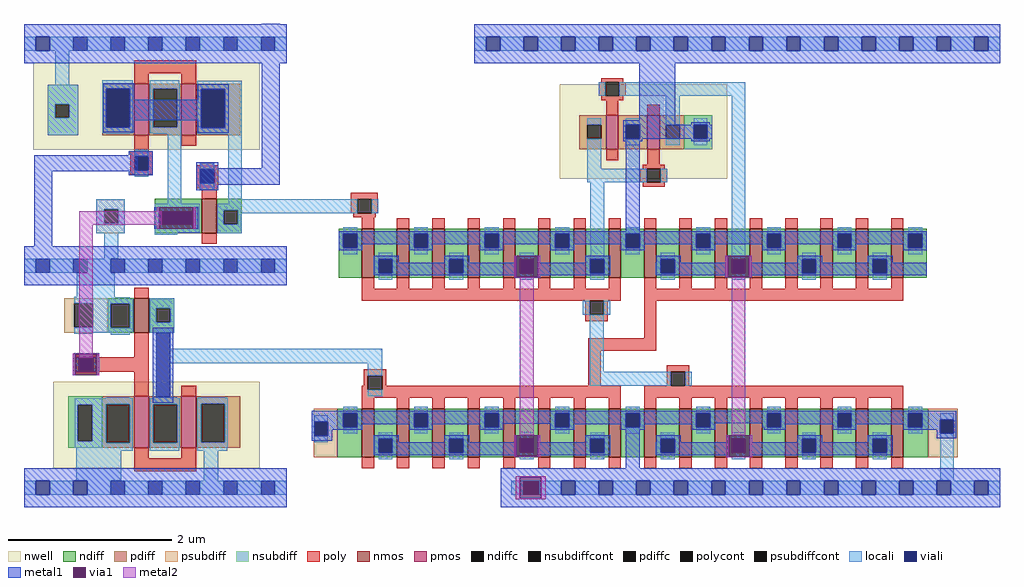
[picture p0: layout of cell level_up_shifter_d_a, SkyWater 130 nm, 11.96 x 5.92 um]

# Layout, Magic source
magic
tech sky130B
magscale 1 2
<< nwell >>
rect 1715 1303 2125 1535
<< nmos >>
rect 1230 1060 1260 1180
rect 1316 1060 1346 1180
rect 1403 1060 1433 1180
rect 1489 1060 1519 1180
rect 1576 1060 1606 1180
rect 1662 1060 1692 1180
rect 1749 1060 1779 1180
rect 1835 1060 1865 1180
rect 1922 1060 1952 1180
rect 2008 1060 2038 1180
rect 2095 1060 2125 1180
rect 2181 1060 2211 1180
rect 2268 1060 2298 1180
rect 2354 1060 2384 1180
rect 2441 1060 2471 1180
rect 2527 1060 2557 1180
rect 1230 620 1260 740
rect 1316 620 1346 740
rect 1403 620 1433 740
rect 1489 620 1519 740
rect 1576 620 1606 740
rect 1662 620 1692 740
rect 1749 620 1779 740
rect 1835 620 1865 740
rect 1922 620 1952 740
rect 2008 620 2038 740
rect 2095 620 2125 740
rect 2181 620 2211 740
rect 2268 620 2298 740
rect 2354 620 2384 740
rect 2441 620 2471 740
rect 2527 620 2557 740
<< pmos >>
rect 1829 1375 1859 1459
rect 1930 1375 1960 1459
<< ndiff >>
rect 1173 1168 1230 1180
rect 1173 1134 1185 1168
rect 1219 1134 1230 1168
rect 1173 1060 1230 1134
rect 1260 1106 1316 1180
rect 1260 1072 1271 1106
rect 1305 1072 1316 1106
rect 1260 1060 1316 1072
rect 1346 1168 1403 1180
rect 1346 1134 1358 1168
rect 1392 1134 1403 1168
rect 1346 1060 1403 1134
rect 1433 1106 1489 1180
rect 1433 1072 1444 1106
rect 1478 1072 1489 1106
rect 1433 1060 1489 1072
rect 1519 1168 1576 1180
rect 1519 1134 1531 1168
rect 1565 1134 1576 1168
rect 1519 1060 1576 1134
rect 1606 1106 1662 1180
rect 1606 1072 1617 1106
rect 1651 1072 1662 1106
rect 1606 1060 1662 1072
rect 1692 1168 1749 1180
rect 1692 1134 1704 1168
rect 1738 1134 1749 1168
rect 1692 1060 1749 1134
rect 1779 1106 1835 1180
rect 1779 1072 1790 1106
rect 1824 1072 1835 1106
rect 1779 1060 1835 1072
rect 1865 1168 1922 1180
rect 1865 1134 1877 1168
rect 1911 1134 1922 1168
rect 1865 1060 1922 1134
rect 1952 1106 2008 1180
rect 1952 1072 1963 1106
rect 1997 1072 2008 1106
rect 1952 1060 2008 1072
rect 2038 1168 2095 1180
rect 2038 1134 2050 1168
rect 2084 1134 2095 1168
rect 2038 1060 2095 1134
rect 2125 1106 2181 1180
rect 2125 1072 2136 1106
rect 2170 1072 2181 1106
rect 2125 1060 2181 1072
rect 2211 1168 2268 1180
rect 2211 1134 2223 1168
rect 2257 1134 2268 1168
rect 2211 1060 2268 1134
rect 2298 1106 2354 1180
rect 2298 1072 2309 1106
rect 2343 1072 2354 1106
rect 2298 1060 2354 1072
rect 2384 1168 2441 1180
rect 2384 1134 2396 1168
rect 2430 1134 2441 1168
rect 2384 1060 2441 1134
rect 2471 1106 2527 1180
rect 2471 1072 2482 1106
rect 2516 1072 2527 1106
rect 2471 1060 2527 1072
rect 2557 1168 2614 1180
rect 2557 1134 2569 1168
rect 2603 1134 2614 1168
rect 2557 1060 2614 1134
rect 1170 728 1230 740
rect 1170 694 1185 728
rect 1219 694 1230 728
rect 1170 620 1230 694
rect 1260 666 1316 740
rect 1260 632 1271 666
rect 1305 632 1316 666
rect 1260 620 1316 632
rect 1346 728 1403 740
rect 1346 694 1358 728
rect 1392 694 1403 728
rect 1346 620 1403 694
rect 1433 666 1489 740
rect 1433 632 1444 666
rect 1478 632 1489 666
rect 1433 620 1489 632
rect 1519 728 1576 740
rect 1519 694 1531 728
rect 1565 694 1576 728
rect 1519 620 1576 694
rect 1606 667 1662 740
rect 1606 633 1617 667
rect 1651 633 1662 667
rect 1606 620 1662 633
rect 1692 728 1749 740
rect 1692 694 1704 728
rect 1738 694 1749 728
rect 1692 620 1749 694
rect 1779 666 1835 740
rect 1779 632 1790 666
rect 1824 632 1835 666
rect 1779 620 1835 632
rect 1865 728 1922 740
rect 1865 694 1877 728
rect 1911 694 1922 728
rect 1865 620 1922 694
rect 1952 666 2008 740
rect 1952 632 1963 666
rect 1997 632 2008 666
rect 1952 620 2008 632
rect 2038 728 2095 740
rect 2038 694 2050 728
rect 2084 694 2095 728
rect 2038 620 2095 694
rect 2125 666 2181 740
rect 2125 632 2136 666
rect 2170 632 2181 666
rect 2125 620 2181 632
rect 2211 728 2268 740
rect 2211 694 2223 728
rect 2257 694 2268 728
rect 2211 620 2268 694
rect 2298 666 2354 740
rect 2298 632 2309 666
rect 2343 632 2354 666
rect 2298 620 2354 632
rect 2384 728 2441 740
rect 2384 694 2396 728
rect 2430 694 2441 728
rect 2384 620 2441 694
rect 2471 666 2527 740
rect 2471 632 2482 666
rect 2516 632 2527 666
rect 2471 620 2527 632
rect 2557 728 2618 740
rect 2557 694 2569 728
rect 2603 694 2618 728
rect 2557 620 2618 694
<< pdiff >>
rect 1763 1435 1829 1459
rect 1763 1401 1783 1435
rect 1817 1401 1829 1435
rect 1763 1375 1829 1401
rect 1859 1435 1930 1459
rect 1859 1401 1877 1435
rect 1911 1401 1930 1435
rect 1859 1375 1930 1401
rect 1960 1435 2020 1459
rect 1960 1401 1975 1435
rect 2009 1401 2020 1435
rect 1960 1375 2020 1401
<< ndiffc >>
rect 1185 1134 1219 1168
rect 1271 1072 1305 1106
rect 1358 1134 1392 1168
rect 1444 1072 1478 1106
rect 1531 1134 1565 1168
rect 1617 1072 1651 1106
rect 1704 1134 1738 1168
rect 1790 1072 1824 1106
rect 1877 1134 1911 1168
rect 1963 1072 1997 1106
rect 2050 1134 2084 1168
rect 2136 1072 2170 1106
rect 2223 1134 2257 1168
rect 2309 1072 2343 1106
rect 2396 1134 2430 1168
rect 2482 1072 2516 1106
rect 2569 1134 2603 1168
rect 1185 694 1219 728
rect 1271 632 1305 666
rect 1358 694 1392 728
rect 1444 632 1478 666
rect 1531 694 1565 728
rect 1617 633 1651 667
rect 1704 694 1738 728
rect 1790 632 1824 666
rect 1877 694 1911 728
rect 1963 632 1997 666
rect 2050 694 2084 728
rect 2136 632 2170 666
rect 2223 694 2257 728
rect 2309 632 2343 666
rect 2396 694 2430 728
rect 2482 632 2516 666
rect 2569 694 2603 728
<< pdiffc >>
rect 1783 1401 1817 1435
rect 1877 1401 1911 1435
rect 1975 1401 2009 1435
<< psubdiff >>
rect 1112 707 1170 740
rect 1112 673 1113 707
rect 1147 673 1170 707
rect 1112 620 1170 673
rect 2618 713 2691 740
rect 2618 679 2647 713
rect 2681 679 2691 713
rect 2618 620 2691 679
<< nsubdiff >>
rect 2020 1435 2089 1459
rect 2020 1401 2043 1435
rect 2077 1401 2089 1435
rect 2020 1375 2089 1401
<< psubdiffcont >>
rect 1113 673 1147 707
rect 2647 679 2681 713
<< nsubdiffcont >>
rect 2043 1401 2077 1435
<< poly >>
rect 1817 1540 1871 1550
rect 1811 1506 1827 1540
rect 1861 1506 1877 1540
rect 1817 1496 1871 1506
rect 1829 1459 1859 1496
rect 1930 1459 1960 1485
rect 1829 1349 1859 1375
rect 1930 1338 1960 1375
rect 1918 1328 1972 1338
rect 1912 1294 1928 1328
rect 1962 1294 1978 1328
rect 1918 1284 1972 1294
rect 1203 1253 1269 1269
rect 1203 1219 1219 1253
rect 1254 1219 1269 1253
rect 1209 1209 1264 1219
rect 1230 1180 1260 1209
rect 1316 1180 1346 1206
rect 1403 1180 1433 1206
rect 1489 1180 1519 1206
rect 1576 1180 1606 1206
rect 1662 1180 1692 1206
rect 1749 1180 1779 1206
rect 1835 1180 1865 1206
rect 1922 1180 1952 1206
rect 2008 1180 2038 1206
rect 2095 1180 2125 1206
rect 2181 1180 2211 1206
rect 2268 1180 2298 1206
rect 2354 1180 2384 1206
rect 2441 1180 2471 1206
rect 2527 1180 2557 1206
rect 1230 1034 1260 1060
rect 1316 1034 1346 1060
rect 1403 1034 1433 1060
rect 1489 1034 1519 1060
rect 1576 1034 1606 1060
rect 1662 1034 1692 1060
rect 1749 1034 1779 1060
rect 1835 1034 1865 1060
rect 1230 1004 1865 1034
rect 1922 1034 1952 1060
rect 2008 1034 2038 1060
rect 2095 1034 2125 1060
rect 2181 1034 2211 1060
rect 2268 1034 2298 1060
rect 2354 1034 2384 1060
rect 2441 1034 2471 1060
rect 2527 1034 2557 1060
rect 1922 1004 2557 1034
rect 1778 970 1788 1004
rect 1823 970 1833 1004
rect 1778 954 1833 970
rect 1922 912 1952 1004
rect 1785 882 1952 912
rect 1235 820 1290 836
rect 1235 796 1245 820
rect 1230 786 1245 796
rect 1280 796 1290 820
rect 1785 796 1815 882
rect 1977 830 2032 846
rect 1977 796 1987 830
rect 2022 796 2032 830
rect 1280 786 1865 796
rect 1230 766 1865 786
rect 1230 740 1260 766
rect 1316 740 1346 766
rect 1403 740 1433 766
rect 1489 740 1519 766
rect 1576 740 1606 766
rect 1662 740 1692 766
rect 1749 740 1779 766
rect 1835 740 1865 766
rect 1922 766 2557 796
rect 1922 740 1952 766
rect 2008 740 2038 766
rect 2095 740 2125 766
rect 2181 740 2211 766
rect 2268 740 2298 766
rect 2354 740 2384 766
rect 2441 740 2471 766
rect 2527 740 2557 766
rect 1230 594 1260 620
rect 1316 594 1346 620
rect 1403 594 1433 620
rect 1489 594 1519 620
rect 1576 594 1606 620
rect 1662 594 1692 620
rect 1749 594 1779 620
rect 1835 594 1865 620
rect 1922 594 1952 620
rect 2008 594 2038 620
rect 2095 594 2125 620
rect 2181 594 2211 620
rect 2268 594 2298 620
rect 2354 594 2384 620
rect 2441 594 2471 620
rect 2527 594 2557 620
<< polycont >>
rect 1827 1506 1861 1540
rect 1928 1294 1962 1328
rect 1219 1219 1254 1253
rect 1788 970 1823 1004
rect 1245 786 1280 820
rect 1987 796 2022 830
<< locali >>
rect 1506 1617 1535 1651
rect 1569 1617 1627 1651
rect 1661 1617 1719 1651
rect 1753 1617 1811 1651
rect 1845 1617 1903 1651
rect 1937 1617 1995 1651
rect 2029 1617 2087 1651
rect 2121 1617 2179 1651
rect 2213 1617 2271 1651
rect 2305 1617 2363 1651
rect 2397 1617 2455 1651
rect 2489 1617 2547 1651
rect 2581 1617 2639 1651
rect 2673 1617 2731 1651
rect 2765 1617 2794 1651
rect 1811 1506 1827 1540
rect 1861 1506 2170 1540
rect 1783 1435 1817 1451
rect 1783 1328 1817 1401
rect 1877 1435 1911 1451
rect 1877 1385 1911 1401
rect 1975 1435 2009 1506
rect 1975 1385 2009 1401
rect 2043 1435 2077 1451
rect 2043 1385 2077 1401
rect 1783 1294 1928 1328
rect 1962 1294 1978 1328
rect 934 1219 1219 1253
rect 1254 1219 1270 1253
rect 1185 1168 1219 1184
rect 1185 1118 1219 1134
rect 1358 1168 1392 1184
rect 1271 1106 1305 1122
rect 1358 1118 1392 1134
rect 1531 1168 1565 1184
rect 1271 1056 1305 1072
rect 1444 1106 1478 1122
rect 1531 1118 1565 1134
rect 1704 1168 1738 1184
rect 1444 1056 1478 1072
rect 1617 1106 1651 1122
rect 1704 1118 1738 1134
rect 1617 1056 1651 1072
rect 1790 1106 1824 1294
rect 1877 1168 1911 1184
rect 1877 1118 1911 1134
rect 2050 1168 2084 1184
rect 1790 1056 1824 1072
rect 1963 1106 1997 1122
rect 2050 1118 2084 1134
rect 1963 1056 1997 1072
rect 2136 1106 2170 1506
rect 2223 1168 2257 1184
rect 2223 1118 2257 1134
rect 2396 1168 2430 1184
rect 2136 1056 2170 1072
rect 2309 1106 2343 1122
rect 2396 1118 2430 1134
rect 2569 1168 2603 1184
rect 2309 1056 2343 1072
rect 2482 1106 2516 1122
rect 2569 1118 2603 1134
rect 2482 1056 2516 1072
rect 1772 970 1788 1004
rect 1823 970 1839 1004
rect 759 851 1280 886
rect 1245 820 1280 851
rect 1788 830 1823 970
rect 1788 796 1987 830
rect 2022 796 2038 830
rect 1245 770 1280 786
rect 1185 728 1219 744
rect 1113 707 1147 723
rect 1185 678 1219 694
rect 1358 728 1392 744
rect 1113 657 1147 673
rect 1271 666 1305 682
rect 1358 678 1392 694
rect 1531 728 1565 744
rect 1271 616 1305 632
rect 1444 666 1478 682
rect 1531 678 1565 694
rect 1704 728 1738 744
rect 1444 616 1478 632
rect 1617 667 1651 683
rect 1704 678 1738 694
rect 1877 728 1911 744
rect 1617 616 1651 633
rect 1790 666 1824 682
rect 1877 678 1911 694
rect 2050 728 2084 744
rect 1790 616 1824 632
rect 1963 666 1997 682
rect 2050 678 2084 694
rect 2223 728 2257 744
rect 1963 616 1997 632
rect 2136 666 2170 682
rect 2223 678 2257 694
rect 2396 728 2430 744
rect 2136 616 2170 632
rect 2309 666 2343 682
rect 2396 678 2430 694
rect 2569 728 2603 744
rect 2309 616 2343 632
rect 2482 666 2516 682
rect 2569 678 2603 694
rect 2647 713 2681 729
rect 2482 616 2516 632
rect 2647 563 2681 679
rect 1596 529 1627 563
rect 1663 529 1719 563
rect 1753 529 1811 563
rect 1845 529 1903 563
rect 1937 529 1995 563
rect 2029 529 2087 563
rect 2121 529 2179 563
rect 2213 529 2271 563
rect 2305 529 2363 563
rect 2397 529 2455 563
rect 2489 529 2547 563
rect 2581 529 2639 563
rect 2673 529 2731 563
rect 2765 529 2794 563
<< viali >>
rect 1535 1617 1569 1651
rect 1627 1617 1661 1651
rect 1719 1617 1753 1651
rect 1811 1617 1845 1651
rect 1903 1617 1937 1651
rect 1995 1617 2029 1651
rect 2087 1617 2121 1651
rect 2179 1617 2213 1651
rect 2271 1617 2305 1651
rect 2363 1617 2397 1651
rect 2455 1617 2489 1651
rect 2547 1617 2581 1651
rect 2639 1617 2673 1651
rect 2731 1617 2765 1651
rect 1877 1401 1911 1435
rect 2043 1401 2077 1435
rect 1185 1134 1219 1168
rect 1358 1134 1392 1168
rect 1531 1134 1565 1168
rect 1271 1072 1305 1106
rect 1704 1134 1738 1168
rect 1444 1072 1478 1106
rect 1617 1072 1651 1106
rect 1877 1134 1911 1168
rect 2050 1134 2084 1168
rect 1790 1072 1824 1106
rect 1963 1072 1997 1106
rect 2223 1134 2257 1168
rect 2396 1134 2430 1168
rect 2136 1072 2170 1106
rect 2569 1134 2603 1168
rect 2309 1072 2343 1106
rect 2482 1072 2516 1106
rect 1113 673 1147 707
rect 1185 694 1219 728
rect 1358 694 1392 728
rect 1531 694 1565 728
rect 1271 632 1305 666
rect 1704 694 1738 728
rect 1444 632 1478 666
rect 1877 694 1911 728
rect 1617 633 1651 667
rect 2050 694 2084 728
rect 1790 632 1824 666
rect 2223 694 2257 728
rect 1963 632 1997 666
rect 2396 694 2430 728
rect 2136 632 2170 666
rect 2569 694 2603 728
rect 2309 632 2343 666
rect 2647 679 2681 713
rect 2482 632 2516 666
rect 1627 529 1663 563
rect 1719 529 1753 563
rect 1811 529 1845 563
rect 1903 529 1937 563
rect 1995 529 2029 563
rect 2087 529 2121 563
rect 2179 529 2213 563
rect 2271 529 2305 563
rect 2363 529 2397 563
rect 2455 529 2489 563
rect 2547 529 2581 563
rect 2639 529 2673 563
rect 2731 529 2765 563
<< metal1 >>
rect 427 1321 681 1361
rect 985 1329 1029 1683
rect 1506 1651 2794 1682
rect 1506 1617 1535 1651
rect 1569 1617 1627 1651
rect 1661 1617 1719 1651
rect 1753 1617 1811 1651
rect 1845 1617 1903 1651
rect 1937 1617 1995 1651
rect 2029 1617 2087 1651
rect 2121 1617 2179 1651
rect 2213 1617 2271 1651
rect 2305 1617 2363 1651
rect 2397 1617 2455 1651
rect 2489 1617 2547 1651
rect 2581 1617 2639 1651
rect 2673 1617 2731 1651
rect 2765 1617 2794 1651
rect 1506 1586 2794 1617
rect 1910 1447 1998 1586
rect 1871 1435 1998 1447
rect 2037 1435 2083 1441
rect 1871 1401 1877 1435
rect 1911 1401 2043 1435
rect 2077 1401 2089 1435
rect 1871 1395 1917 1401
rect 2037 1395 2083 1401
rect 427 1042 471 1321
rect 837 1289 1029 1329
rect 1877 1174 1911 1395
rect 1173 1168 2615 1174
rect 1173 1134 1185 1168
rect 1219 1142 1358 1168
rect 1219 1134 1231 1142
rect 1173 1128 1231 1134
rect 1346 1134 1358 1142
rect 1392 1142 1531 1168
rect 1392 1134 1404 1142
rect 1346 1128 1404 1134
rect 1519 1134 1531 1142
rect 1565 1142 1704 1168
rect 1565 1134 1577 1142
rect 1519 1128 1577 1134
rect 1692 1134 1704 1142
rect 1738 1142 1877 1168
rect 1738 1134 1750 1142
rect 1692 1128 1750 1134
rect 1865 1134 1877 1142
rect 1911 1142 2050 1168
rect 1911 1134 1923 1142
rect 1865 1128 1923 1134
rect 2038 1134 2050 1142
rect 2084 1142 2223 1168
rect 2084 1134 2096 1142
rect 2038 1128 2096 1134
rect 2211 1134 2223 1142
rect 2257 1142 2396 1168
rect 2257 1134 2269 1142
rect 2211 1128 2269 1134
rect 2384 1134 2396 1142
rect 2430 1142 2569 1168
rect 2430 1134 2442 1142
rect 2384 1128 2442 1134
rect 2557 1134 2569 1142
rect 2603 1134 2615 1168
rect 2557 1128 2615 1134
rect 1259 1106 1320 1114
rect 1259 1072 1271 1106
rect 1305 1097 1320 1106
rect 1432 1106 1493 1114
rect 1432 1097 1444 1106
rect 1305 1072 1444 1097
rect 1478 1097 1493 1106
rect 1603 1097 1609 1114
rect 1478 1072 1609 1097
rect 1661 1097 1667 1114
rect 1778 1106 1839 1114
rect 1778 1097 1790 1106
rect 1661 1072 1790 1097
rect 1824 1072 1839 1106
rect 1951 1106 2012 1114
rect 1951 1097 1963 1106
rect 1259 1066 1609 1072
rect 1603 1062 1609 1066
rect 1661 1066 1839 1072
rect 1950 1072 1963 1097
rect 1997 1097 2012 1106
rect 2121 1097 2127 1114
rect 1997 1072 2127 1097
rect 2179 1097 2185 1114
rect 2297 1106 2358 1114
rect 2297 1097 2309 1106
rect 2179 1072 2309 1097
rect 2343 1097 2358 1106
rect 2470 1106 2531 1114
rect 2470 1097 2482 1106
rect 2343 1072 2482 1097
rect 2516 1097 2531 1106
rect 2516 1072 2614 1097
rect 1950 1066 2127 1072
rect 1661 1062 1667 1066
rect 2121 1062 2127 1066
rect 2179 1066 2614 1072
rect 2179 1062 2185 1066
rect 1603 1061 1667 1062
rect 1107 728 2687 734
rect 1107 707 1185 728
rect 1107 673 1113 707
rect 1147 694 1185 707
rect 1219 702 1358 728
rect 1219 694 1231 702
rect 1147 688 1231 694
rect 1346 694 1358 702
rect 1392 702 1531 728
rect 1392 694 1404 702
rect 1346 688 1404 694
rect 1519 694 1531 702
rect 1565 703 1704 728
rect 1565 694 1577 703
rect 1519 688 1577 694
rect 1692 694 1704 703
rect 1738 702 1877 728
rect 1738 694 1750 702
rect 1692 688 1750 694
rect 1865 694 1877 702
rect 1911 702 2050 728
rect 1911 694 1923 702
rect 1865 688 1923 694
rect 2038 694 2050 702
rect 2084 704 2223 728
rect 2084 694 2096 704
rect 2211 694 2223 704
rect 2257 702 2396 728
rect 2257 694 2269 702
rect 2038 688 2096 694
rect 2215 688 2269 694
rect 2384 694 2396 702
rect 2430 702 2569 728
rect 2430 694 2442 702
rect 2384 688 2442 694
rect 2557 694 2569 702
rect 2603 713 2687 728
rect 2603 694 2647 713
rect 2557 688 2647 694
rect 1147 673 1157 688
rect 1107 661 1157 673
rect 1259 666 1320 674
rect 1259 632 1271 666
rect 1305 657 1320 666
rect 1432 666 1493 674
rect 1432 657 1444 666
rect 1305 632 1444 657
rect 1478 657 1493 666
rect 1603 657 1609 675
rect 1478 632 1609 657
rect 1661 657 1667 675
rect 1778 666 1839 674
rect 1778 657 1790 666
rect 1259 626 1609 632
rect 1603 623 1609 626
rect 1661 632 1790 657
rect 1824 632 1839 666
rect 1661 626 1839 632
rect 1661 623 1667 626
rect 1603 622 1667 623
rect 1877 594 1911 688
rect 2639 679 2647 688
rect 2681 679 2687 713
rect 1951 666 2012 674
rect 1951 657 1963 666
rect 1950 632 1963 657
rect 1997 657 2012 666
rect 2123 657 2129 674
rect 1997 632 2129 657
rect 2181 657 2187 674
rect 2297 666 2358 674
rect 2297 657 2309 666
rect 2181 632 2309 657
rect 2343 657 2358 666
rect 2470 666 2531 674
rect 2639 667 2687 679
rect 2470 657 2482 666
rect 2343 632 2482 657
rect 2516 632 2531 666
rect 1950 626 2129 632
rect 2123 622 2129 626
rect 2181 626 2531 632
rect 2181 622 2187 626
rect 1571 572 2794 594
rect 1571 520 1617 572
rect 1670 563 2794 572
rect 1670 529 1719 563
rect 1753 529 1811 563
rect 1845 529 1903 563
rect 1937 529 1995 563
rect 2029 529 2087 563
rect 2121 529 2179 563
rect 2213 529 2271 563
rect 2305 529 2363 563
rect 2397 529 2455 563
rect 2489 529 2547 563
rect 2581 529 2639 563
rect 2673 529 2731 563
rect 2765 529 2794 563
rect 1670 520 2794 529
rect 1571 498 2794 520
<< via1 >>
rect 1609 1106 1661 1114
rect 1609 1072 1617 1106
rect 1617 1072 1651 1106
rect 1651 1072 1661 1106
rect 1609 1062 1661 1072
rect 2127 1106 2179 1114
rect 2127 1072 2136 1106
rect 2136 1072 2170 1106
rect 2170 1072 2179 1106
rect 2127 1062 2179 1072
rect 1609 667 1661 675
rect 1609 633 1617 667
rect 1617 633 1651 667
rect 1651 633 1661 667
rect 1609 623 1661 633
rect 2129 666 2181 674
rect 2129 632 2136 666
rect 2136 632 2170 666
rect 2170 632 2181 666
rect 2129 622 2181 632
rect 1617 563 1670 572
rect 1617 529 1627 563
rect 1627 529 1663 563
rect 1663 529 1670 563
rect 1617 520 1670 529
<< metal2 >>
rect 1603 1062 1609 1114
rect 1661 1062 1667 1114
rect 2121 1062 2127 1114
rect 2179 1062 2185 1114
rect 1617 675 1651 1062
rect 1603 623 1609 675
rect 1661 623 1667 675
rect 2136 674 2170 1062
rect 1603 622 1667 623
rect 2123 622 2129 674
rect 2181 622 2187 674
rect 2123 620 2187 622
rect 1607 572 1681 574
rect 1607 520 1617 572
rect 1670 520 1681 572
rect 1607 518 1681 520
use comp_clks_stg1  comp_clks_stg1_0 clkgen
transform 1 0 402 0 -1 1138
box 0 -547 644 640
<< end >>

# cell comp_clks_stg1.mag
magic
tech sky130B
magscale 1 2
<< locali >>
rect 500 -405 534 -88
<< metal1 >>
rect 155 544 644 640
rect 315 200 366 384
rect 0 0 644 96
rect 25 -183 69 0
rect 25 -223 279 -183
rect 435 -191 627 -151
rect 583 -448 627 -191
rect 63 -544 644 -448
rect 583 -545 627 -544
<< metal2 >>
rect 135 -52 169 274
rect 135 -86 337 -52
use inverter  inverter_0
transform 1 0 276 0 1 128
box -276 -128 368 512
use tg  tg_0
transform 1 0 276 0 -1 -32
box -276 -128 368 512
<< labels >>
flabel metal1 63 -544 644 -448 1 FreeSans 320 0 0 0 vdd
port 1 n default bidirectional
flabel metal1 155 544 644 640 1 FreeSans 320 0 0 0 vdd
flabel metal1 0 0 644 96 1 FreeSans 320 0 0 0 vss
port 2 n default bidirectional
flabel metal2 135 -86 169 274 1 FreeSans 320 0 0 0 clk
port 3 n default input
flabel metal1 315 200 366 384 1 FreeSans 320 0 0 0 clka
port 4 n default output
flabel locali 500 -405 534 -88 1 FreeSans 320 0 0 0 clkb
port 5 n default output
<< end >>

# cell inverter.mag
magic
tech sky130B
magscale 1 2
<< nwell >>
rect -204 204 302 417
<< nmos >>
rect -6 0 30 84
<< pmos >>
rect -6 240 30 366
rect 110 240 146 366
<< ndiff >>
rect -71 72 -6 84
rect -71 13 -63 72
rect -17 13 -6 72
rect -71 0 -6 13
rect 30 58 92 84
rect 30 24 48 58
rect 82 24 92 58
rect 30 0 92 24
<< pdiff >>
rect -84 354 -6 366
rect -84 259 -75 354
rect -17 259 -6 354
rect -84 240 -6 259
rect 30 354 110 366
rect 30 259 41 354
rect 99 259 110 354
rect 30 240 110 259
rect 146 353 254 366
rect 146 258 158 353
rect 216 258 254 353
rect 146 240 254 258
<< ndiffc >>
rect -63 13 -17 72
rect 48 24 82 58
<< pdiffc >>
rect -75 259 -17 354
rect 41 259 99 354
rect 158 258 216 353
<< psubdiff >>
rect -177 71 -71 84
rect -177 12 -153 71
rect -107 12 -71 71
rect -177 0 -71 12
<< nsubdiff >>
rect -168 350 -84 366
rect -168 261 -144 350
rect -109 261 -84 350
rect -168 240 -84 261
<< psubdiffcont >>
rect -153 12 -107 71
<< nsubdiffcont >>
rect -144 261 -109 350
<< poly >>
rect -6 392 146 424
rect -6 366 30 392
rect 110 366 146 392
rect -151 180 -95 189
rect -6 180 30 240
rect 110 214 146 240
rect -151 179 30 180
rect -157 145 -141 179
rect -107 145 30 179
rect -151 144 30 145
rect -151 135 -95 144
rect -6 84 30 144
rect -6 -26 30 0
<< polycont >>
rect -141 145 -107 179
<< locali >>
rect -276 447 -247 481
rect -213 447 -155 481
rect -121 447 -63 481
rect -29 447 29 481
rect 63 447 121 481
rect 155 447 213 481
rect 247 447 305 481
rect 339 447 368 481
rect -148 374 -38 447
rect -148 366 -10 374
rect -152 354 -10 366
rect -152 350 -75 354
rect -152 261 -144 350
rect -109 261 -75 350
rect -152 259 -75 261
rect -17 259 -10 354
rect -152 245 -10 259
rect 32 366 105 374
rect 164 373 200 447
rect 32 354 106 366
rect 32 259 41 354
rect 99 259 106 354
rect 32 245 106 259
rect 149 365 222 373
rect 149 353 223 365
rect 149 258 158 353
rect 216 258 223 353
rect -75 243 -17 245
rect 41 243 99 245
rect 149 244 223 258
rect -157 145 -141 179
rect -107 145 -91 179
rect -153 84 -107 87
rect -63 84 -17 89
rect 158 242 216 244
rect -153 83 -17 84
rect -153 72 -8 83
rect -153 71 -63 72
rect -107 13 -63 71
rect -17 13 -8 72
rect -107 12 -8 13
rect -153 1 -8 12
rect 32 58 92 84
rect 32 24 48 58
rect 82 24 92 58
rect -153 -3 -17 1
rect 32 0 92 24
rect -153 -4 -53 -3
rect -147 -63 -53 -4
rect -276 -97 -247 -63
rect -213 -97 -155 -63
rect -121 -97 -63 -63
rect -29 -97 29 -63
rect 63 -97 121 -63
rect 155 -97 213 -63
rect 247 -97 305 -63
rect 339 -97 368 -63
<< viali >>
rect -247 447 -213 481
rect -155 447 -121 481
rect -63 447 -29 481
rect 29 447 63 481
rect 121 447 155 481
rect 213 447 247 481
rect 305 447 339 481
rect -141 145 -107 179
rect 48 84 82 243
rect -247 -97 -213 -63
rect -155 -97 -121 -63
rect -63 -97 -29 -63
rect 29 -97 63 -63
rect 121 -97 155 -63
rect 213 -97 247 -63
rect 305 -97 339 -63
<< metal1 >>
rect -276 481 368 512
rect -276 447 -247 481
rect -213 447 -155 481
rect -121 447 -63 481
rect -29 447 29 481
rect 63 447 121 481
rect 155 447 213 481
rect 247 447 305 481
rect 339 447 368 481
rect -276 416 368 447
rect 39 243 90 256
rect -154 188 -91 189
rect -156 136 -150 188
rect -98 136 -91 188
rect -154 135 -91 136
rect 39 84 48 243
rect 82 84 90 243
rect 39 72 90 84
rect -276 -63 368 -32
rect -276 -97 -247 -63
rect -213 -97 -155 -63
rect -121 -97 -63 -63
rect -29 -97 29 -63
rect 63 -97 121 -63
rect 155 -97 213 -63
rect 247 -97 305 -63
rect 339 -97 368 -63
rect -276 -128 368 -97
<< via1 >>
rect -150 179 -98 188
rect -150 145 -141 179
rect -141 145 -107 179
rect -107 145 -98 179
rect -150 136 -98 145
<< metal2 >>
rect -156 136 -150 188
rect -98 136 -92 188
<< labels >>
flabel metal2 -141 145 -107 179 0 FreeSans 160 0 0 0 in
port 2 nsew default input
flabel viali 48 84 82 243 0 FreeSans 160 0 0 0 out
port 3 nsew default output
flabel metal1 -29 -128 29 -32 1 FreeSans 320 0 0 0 vss
port 4 n default bidirectional
flabel metal1 -10 416 84 512 1 FreeSans 320 0 0 0 vdd
port 5 n default bidirectional
<< end >>

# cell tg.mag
magic
tech sky130B
magscale 1 2
<< nwell >>
rect -253 204 302 417
<< nmos >>
rect 160 0 196 84
<< pmos >>
rect -6 240 30 366
rect 110 240 146 366
<< ndiff >>
rect 45 54 160 84
rect 45 20 55 54
rect 139 20 160 54
rect 45 0 160 20
rect 196 56 258 84
rect 196 22 214 56
rect 248 22 258 56
rect 196 0 258 22
<< pdiff >>
rect -84 354 -6 366
rect -84 259 -75 354
rect -17 259 -6 354
rect -84 240 -6 259
rect 30 354 110 366
rect 30 259 41 354
rect 99 259 110 354
rect 30 240 110 259
rect 146 353 254 366
rect 146 258 158 353
rect 216 258 254 353
rect 146 240 254 258
<< ndiffc >>
rect 55 20 139 54
rect 214 22 248 56
<< pdiffc >>
rect -75 259 -17 354
rect 41 259 99 354
rect 158 258 216 353
<< psubdiff >>
rect -99 58 -29 83
rect -99 24 -79 58
rect -45 24 -29 58
rect -99 0 -29 24
<< nsubdiff >>
rect -217 316 -143 364
rect -217 282 -199 316
rect -165 282 -143 316
rect -217 240 -143 282
<< psubdiffcont >>
rect -79 24 -45 58
<< nsubdiffcont >>
rect -199 282 -165 316
<< poly >>
rect -6 392 146 424
rect -6 366 30 392
rect 110 366 146 392
rect -6 200 30 240
rect 110 214 146 240
rect -15 188 39 200
rect -15 154 -5 188
rect 29 154 39 188
rect 156 166 190 172
rect -15 144 39 154
rect 146 156 200 166
rect -5 138 29 144
rect 146 122 156 156
rect 190 122 200 156
rect 146 110 200 122
rect 155 106 196 110
rect 160 84 196 106
rect 160 -26 196 0
<< polycont >>
rect -5 154 29 188
rect 156 122 190 156
<< locali >>
rect -276 447 -247 481
rect -213 447 -155 481
rect -121 447 -63 481
rect -29 447 29 481
rect 63 447 121 481
rect 155 447 213 481
rect 247 447 305 481
rect 339 447 368 481
rect -199 364 -165 447
rect -218 316 -143 364
rect -218 282 -199 316
rect -165 282 -143 316
rect -218 240 -143 282
rect -84 354 -10 374
rect -84 259 -75 354
rect -17 259 -10 354
rect -84 245 -10 259
rect 32 366 105 374
rect 32 354 106 366
rect 32 259 41 354
rect 99 277 106 354
rect 149 353 258 373
rect 99 259 110 277
rect 32 245 110 259
rect -75 243 -17 245
rect 41 243 110 245
rect 149 258 158 353
rect 216 258 258 353
rect 149 244 258 258
rect -5 188 29 204
rect -5 138 29 154
rect -99 58 -29 83
rect 76 72 110 243
rect 158 242 258 244
rect 156 156 190 172
rect 156 106 190 122
rect 224 72 258 242
rect -99 24 -79 58
rect -45 24 -29 58
rect -99 0 -29 24
rect 45 54 155 72
rect 45 20 55 54
rect 139 20 155 54
rect 45 1 155 20
rect 198 56 258 72
rect 198 22 214 56
rect 248 22 258 56
rect -79 -63 -45 0
rect 45 -4 99 1
rect 198 0 258 22
rect -276 -97 -247 -63
rect -213 -97 -155 -63
rect -121 -97 -63 -63
rect -29 -97 29 -63
rect 63 -97 121 -63
rect 155 -97 213 -63
rect 247 -97 305 -63
rect 339 -97 368 -63
<< viali >>
rect -247 447 -213 481
rect -155 447 -121 481
rect -63 447 -29 481
rect 29 447 63 481
rect 121 447 155 481
rect 213 447 247 481
rect 305 447 339 481
rect -75 259 -17 354
rect 158 258 216 353
rect -5 154 29 188
rect 156 122 190 156
rect 55 20 139 54
rect -247 -97 -213 -63
rect -155 -97 -121 -63
rect -63 -97 -29 -63
rect 29 -97 63 -63
rect 121 -97 155 -63
rect 213 -97 247 -63
rect 305 -97 339 -63
<< metal1 >>
rect -276 481 368 512
rect -276 447 -247 481
rect -213 447 -155 481
rect -121 447 -63 481
rect -29 447 29 481
rect 63 447 121 481
rect 155 447 213 481
rect 247 447 305 481
rect 339 447 368 481
rect -276 417 368 447
rect -276 416 149 417
rect 204 416 368 417
rect -82 354 -6 367
rect -82 259 -75 354
rect -17 327 -6 354
rect 150 353 226 365
rect 150 327 158 353
rect -17 277 158 327
rect -17 259 -6 277
rect -82 247 -6 259
rect 150 258 158 277
rect 216 258 226 353
rect 150 246 226 258
rect -19 188 39 200
rect -19 154 -5 188
rect 29 154 39 188
rect -19 142 39 154
rect 146 156 200 173
rect 146 122 156 156
rect 190 122 200 156
rect 146 105 200 122
rect 43 11 55 63
rect 139 11 151 63
rect -276 -63 368 -32
rect -276 -97 -247 -63
rect -213 -97 -155 -63
rect -121 -97 -63 -63
rect -29 -97 29 -63
rect 63 -97 121 -63
rect 155 -97 213 -63
rect 247 -97 305 -63
rect 339 -97 368 -63
rect -276 -128 368 -97
<< via1 >>
rect 55 54 139 63
rect 55 20 139 54
rect 55 11 139 20
<< metal2 >>
rect 49 11 55 63
rect 139 11 145 63
<< labels >>
flabel metal1 -5 154 29 188 1 FreeSans 400 0 0 0 ctrl_
port 1 n default input
flabel metal1 156 122 190 156 1 FreeSans 400 0 0 0 ctrl
port 2 n default input
flabel metal2 55 20 139 54 1 FreeSans 400 0 0 0 in
port 5 n default input
flabel ndiffc 214 22 248 56 0 FreeSans 160 0 0 0 out
port 6 nsew default output
flabel metal1 -29 416 29 512 1 FreeSans 320 0 0 0 vdd
port 7 n default bidirectional
flabel metal1 -29 -128 29 -32 1 FreeSans 320 0 0 0 vss
port 8 n default bidirectional
<< end >>
